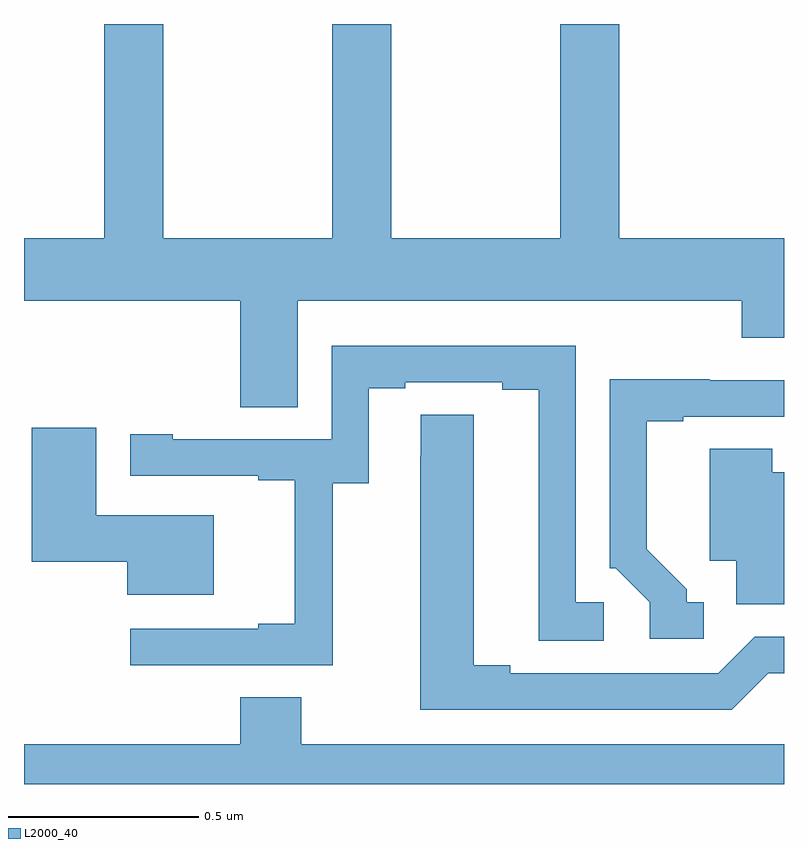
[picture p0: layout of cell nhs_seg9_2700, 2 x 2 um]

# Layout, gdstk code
import gdstk
lib = gdstk.Library(unit=1e-6, precision=1e-09)
def P(c, l, *ps):  # polygons
    for p in ps: c.add(gdstk.Polygon(p, *l))
L2000_40 = (2000, 40)

nhs_seg9_2700 = lib.new_cell('nhs_seg9_2700')
P(nhs_seg9_2700, L2000_40, [(144.721,1177.772),(145.889,1177.772),(145.889,1177.674),(146,1177.674),(146,1177.936),(145.566,1177.936),(145.566,1178.5),(145.411,1178.5),(145.411,1177.936),(144.966,1177.936),(144.966,1178.5),(144.811,1178.5),(144.811,1177.936),(144.366,1177.936),(144.366,1178.5),(144.211,1178.5),(144.211,1177.936),(144,1177.936),(144,1177.772),(144.569,1177.772),(144.569,1177.492),(144.721,1177.492)],
  [(144.813,1177.291),(144.907,1177.291),(144.907,1177.542),(145.003,1177.542),(145.003,1177.557),(145.259,1177.557),(145.259,1177.537),(145.355,1177.537),(145.355,1176.877),(145.525,1176.877),(145.525,1176.978),(145.452,1176.978),(145.452,1177.653),(144.81,1177.653),(144.81,1177.407),(144.391,1177.407),(144.391,1177.42),(144.279,1177.42),(144.279,1177.311),(144.617,1177.311),(144.617,1177.299),(144.713,1177.299),(144.713,1176.922),(144.617,1176.922),(144.617,1176.909),(144.279,1176.909),(144.279,1176.813),(144.813,1176.813)],
  [(145.789,1176.978),(145.744,1176.978),(145.744,1177.013),(145.639,1177.118),(145.639,1177.455),(145.735,1177.455),(145.735,1177.467),(146,1177.467),(146,1177.563),(145.805,1177.563),(145.805,1177.565),(145.542,1177.565),(145.542,1177.068),(145.557,1177.068),(145.647,1176.978),(145.647,1176.882),(145.789,1176.882)],
  [(145.959,1176.792),(146,1176.792),(146,1176.888),(145.923,1176.888),(145.827,1176.792),(145.279,1176.792),(145.279,1176.812),(145.183,1176.812),(145.183,1177.472),(145.044,1177.472),(145.044,1177.364),(145.043,1177.364),(145.043,1176.696),(145.863,1176.696)],
  [(144.499,1177.207),(144.19,1177.207),(144.19,1177.438),(144.02,1177.438),(144.02,1177.085),(144.272,1177.085),(144.272,1176.998),(144.499,1176.998)],
  [(146,1177.321),(145.969,1177.321),(145.969,1177.382),(145.805,1177.382),(145.805,1177.088),(145.874,1177.088),(145.874,1176.973),(146,1176.973)],
  [(146,1176.604),(144.729,1176.604),(144.729,1176.728),(144.569,1176.728),(144.569,1176.604),(144,1176.604),(144,1176.5),(146,1176.5)])

lib.write_gds('nhs_seg9_2700.gds')
